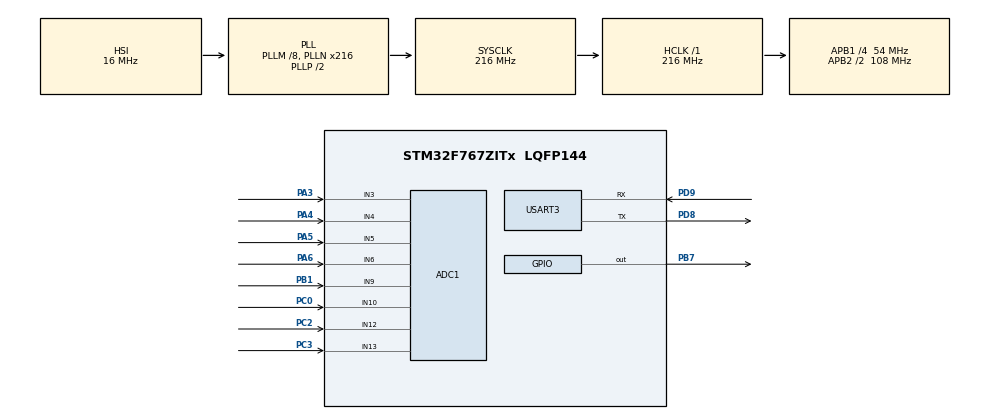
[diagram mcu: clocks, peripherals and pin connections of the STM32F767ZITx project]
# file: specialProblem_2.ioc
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ADC1.Channel-0\#ChannelRegularConversion=ADC_CHANNEL_3
ADC1.Channel-1\#ChannelRegularConversion=ADC_CHANNEL_4
ADC1.Channel-2\#ChannelRegularConversion=ADC_CHANNEL_10
ADC1.Channel-3\#ChannelRegularConversion=ADC_CHANNEL_13
ADC1.Channel-4\#ChannelRegularConversion=ADC_CHANNEL_5
ADC1.Channel-5\#ChannelRegularConversion=ADC_CHANNEL_6
ADC1.Channel-6\#ChannelRegularConversion=ADC_CHANNEL_9
ADC1.Channel-7\#ChannelRegularConversion=ADC_CHANNEL_12
ADC1.ClockPrescaler=ADC_CLOCK_SYNC_PCLK_DIV8
ADC1.ContinuousConvMode=DISABLE
ADC1.DMAContinuousRequests=ENABLE
ADC1.EOCSelection=ADC_EOC_SEQ_CONV
ADC1.NbrOfConversion=8
ADC1.NbrOfConversionFlag=1
ADC1.Rank-0\#ChannelRegularConversion=1
ADC1.Rank-1\#ChannelRegularConversion=2
ADC1.Rank-2\#ChannelRegularConversion=3
ADC1.Rank-3\#ChannelRegularConversion=4
ADC1.Rank-4\#ChannelRegularConversion=5
ADC1.Rank-5\#ChannelRegularConversion=6
ADC1.Rank-6\#ChannelRegularConversion=7
ADC1.Rank-7\#ChannelRegularConversion=8
ADC1.SamplingTime-0\#ChannelRegularConversion=ADC_SAMPLETIME_3CYCLES
ADC1.SamplingTime-1\#ChannelRegularConversion=ADC_SAMPLETIME_3CYCLES
ADC1.SamplingTime-2\#ChannelRegularConversion=ADC_SAMPLETIME_3CYCLES
ADC1.SamplingTime-3\#ChannelRegularConversion=ADC_SAMPLETIME_3CYCLES
ADC1.SamplingTime-4\#ChannelRegularConversion=ADC_SAMPLETIME_3CYCLES
ADC1.SamplingTime-5\#ChannelRegularConversion=ADC_SAMPLETIME_3CYCLES
ADC1.SamplingTime-6\#ChannelRegularConversion=ADC_SAMPLETIME_3CYCLES
ADC1.SamplingTime-7\#ChannelRegularConversion=ADC_SAMPLETIME_3CYCLES
ADC1.ScanConvMode=ADC_SCAN_ENABLE
ADC1.master=1
Dma.ADC1.0.Direction=DMA_PERIPH_TO_MEMORY
Dma.ADC1.0.FIFOMode=DMA_FIFOMODE_DISABLE
Dma.ADC1.0.Instance=DMA2_Stream0
Dma.ADC1.0.MemDataAlignment=DMA_MDATAALIGN_HALFWORD
Dma.ADC1.0.MemInc=DMA_MINC_ENABLE
Dma.ADC1.0.Mode=DMA_CIRCULAR
Dma.ADC1.0.PeriphDataAlignment=DMA_PDATAALIGN_HALFWORD
Dma.ADC1.0.PeriphInc=DMA_PINC_DISABLE
Dma.ADC1.0.Priority=DMA_PRIORITY_LOW
Dma.Request0=ADC1
Mcu.Family=STM32F7
Mcu.Name=STM32F767ZITx
Mcu.Package=LQFP144
NVIC.DMA2_Stream0_IRQn=true\:1\:0\:true\:false\:true\:false\:true\:true
NVIC.PriorityGroup=NVIC_PRIORITYGROUP_2
PA3.Signal=ADCx_IN3
PA4.Signal=ADCx_IN4
PA5.Signal=ADCx_IN5
PA6.Signal=ADCx_IN6
PB1.Signal=ADCx_IN9
PB7.Signal=GPIO_Output
PC0.Signal=ADCx_IN10
PC2.Signal=ADCx_IN12
PC3.Signal=ADCx_IN13
PD8.Mode=Asynchronous
PD8.Signal=USART3_TX
PD9.Mode=Asynchronous
PD9.Signal=USART3_RX
ProjectManager.HeapSize=0x200
ProjectManager.StackSize=0x400
ProjectManager.TargetToolchain=STM32CubeIDE
RCC.AHBFreq_Value=216000000
RCC.APB1CLKDivider=RCC_HCLK_DIV4
RCC.APB1Freq_Value=54000000
RCC.APB1TimFreq_Value=108000000
RCC.APB2CLKDivider=RCC_HCLK_DIV2
RCC.APB2Freq_Value=108000000
RCC.APB2TimFreq_Value=216000000
RCC.CortexFreq_Value=216000000
RCC.HCLKFreq_Value=216000000
RCC.HSE_VALUE=25000000
RCC.HSI_VALUE=16000000
RCC.LSE_VALUE=32768
RCC.PLLM=8
RCC.PLLN=216
RCC.SYSCLKFreq_VALUE=216000000
RCC.SYSCLKSource=RCC_SYSCLKSOURCE_PLLCLK
RCC.USBFreq_Value=216000000
RCC.VCOOutputFreq_Value=432000000
SH.ADCx_IN10.0=ADC1_IN10,IN10
SH.ADCx_IN12.0=ADC1_IN12,IN12
SH.ADCx_IN13.0=ADC1_IN13,IN13
SH.ADCx_IN3.0=ADC1_IN3,IN3
SH.ADCx_IN4.0=ADC1_IN4,IN4
SH.ADCx_IN5.0=ADC1_IN5,IN5
SH.ADCx_IN6.0=ADC1_IN6,IN6
SH.ADCx_IN9.0=ADC1_IN9,IN9
USART3.VirtualMode-Asynchronous=VM_ASYNC
board=custom

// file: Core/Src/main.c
/* USER CODE BEGIN Header */
/**
 ******************************************************************************
 * @file           : main.c
 * @brief          : Main program body
 ******************************************************************************
 * @attention
 *
 * Copyright (c) 2023 STMicroelectronics.
 * All rights reserved.
 *
 * This software is licensed under terms that can be found in the LICENSE file
 * in the root directory of this software component.
 * If no LICENSE file comes with this software, it is provided AS-IS.
 *
 ******************************************************************************
 */
/* USER CODE END Header */
#include "main.h"
#include "adc.h"
#include "dma.h"
#include "usart.h"
#include "gpio.h"

/* USER CODE BEGIN PV */
volatile uint16_t adc_val[8];
int adcChannelCount = sizeof(adc_val) / sizeof(adc_val[0]);
/* USER CODE END PV */

void SystemClock_Config(void);
static void MPU_Initialize(void);
static void MPU_Config(void);

/* USER CODE BEGIN 0 */
void HAL_ADC_ConvCpltCallback(ADC_HandleTypeDef* hadc1){
	HAL_GPIO_WritePin(GPIOB, GPIO_PIN_7, 0);
}
void HAL_ADC_ConvHalfCpltCallback(ADC_HandleTypeDef* hadc1){
	HAL_GPIO_WritePin(GPIOB, GPIO_PIN_7, 1);
	HAL_Delay(100);
}
/* USER CODE END 0 */

int main(void)
{

  /* MCU Configuration--------------------------------------------------------*/

  /* Reset of all peripherals, Initializes the Flash interface and the Systick. */
  HAL_Init();

  /* MPU Configuration--------------------------------------------------------*/
  MPU_Config();

  /* Configure the system clock */
  SystemClock_Config();

  /* Initialize all configured peripherals */
  MX_GPIO_Init();
  MX_DMA_Init();
  MX_USART3_UART_Init();
  MX_ADC1_Init();
  /* USER CODE BEGIN 2 */
	char a[200];
  /* USER CODE END 2 */

  /* Infinite loop */
	while (1) {

    /* USER CODE BEGIN 3 */
		HAL_ADC_Start_DMA(&hadc1, (uint32_t*) adc_val, adcChannelCount);
		while (__HAL_UART_GET_FLAG(&huart3,UART_FLAG_TC) == RESET) {
		}
		sprintf(a,
				"1st Resistor: ch1 = %.2f V | ch2 = %.2f V | ch3 = %.2f V | ch4 = %.2f V\n\r2nd Resistor: ch1 = %.2f V | ch2 = %.2f V | ch3 = %.2f V | ch4 = %.2f V\n\r",
				(float) adc_val[0] * 3.3 / 4095,
				(float) adc_val[1] * 3.3 / 4095,
				(float) adc_val[2] * 3.3 / 4095,
				(float) adc_val[3] * 3.3 / 4095,
				(float) adc_val[4] * 3.3 / 4095,
				(float) adc_val[5] * 3.3 / 4095,
				(float) adc_val[6] * 3.3 / 4095,
				(float) adc_val[7] * 3.3 / 4095);
		HAL_UART_Transmit(&huart3, (uint8_t*) a, strlen(a), 1000);
		HAL_Delay(1000);
	}
  /* USER CODE END 3 */
}

void SystemClock_Config(void)
{
  RCC_OscInitTypeDef RCC_OscInitStruct = {0};
  RCC_ClkInitTypeDef RCC_ClkInitStruct = {0};

  /** Configure the main internal regulator output voltage
  */
  __HAL_RCC_PWR_CLK_ENABLE();
  __HAL_PWR_VOLTAGESCALING_CONFIG(PWR_REGULATOR_VOLTAGE_SCALE1);

  /** Initializes the RCC Oscillators according to the specified parameters
  * in the RCC_OscInitTypeDef structure.
  */
  RCC_OscInitStruct.OscillatorType = RCC_OSCILLATORTYPE_HSI;
  RCC_OscInitStruct.HSIState = RCC_HSI_ON;
  RCC_OscInitStruct.HSICalibrationValue = RCC_HSICALIBRATION_DEFAULT;
  RCC_OscInitStruct.PLL.PLLState = RCC_PLL_ON;
  RCC_OscInitStruct.PLL.PLLSource = RCC_PLLSOURCE_HSI;
  RCC_OscInitStruct.PLL.PLLM = 8;
  RCC_OscInitStruct.PLL.PLLN = 216;
  RCC_OscInitStruct.PLL.PLLP = RCC_PLLP_DIV2;
  RCC_OscInitStruct.PLL.PLLQ = 2;
  RCC_OscInitStruct.PLL.PLLR = 2;
  if (HAL_RCC_OscConfig(&RCC_OscInitStruct) != HAL_OK)
  {
    Error_Handler();
  }

  /** Activate the Over-Drive mode
  */
  if (HAL_PWREx_EnableOverDrive() != HAL_OK)
  {
    Error_Handler();
  }

  /** Initializes the CPU, AHB and APB buses clocks
  */
  RCC_ClkInitStruct.ClockType = RCC_CLOCKTYPE_HCLK|RCC_CLOCKTYPE_SYSCLK
                              |RCC_CLOCKTYPE_PCLK1|RCC_CLOCKTYPE_PCLK2;
  RCC_ClkInitStruct.SYSCLKSource = RCC_SYSCLKSOURCE_PLLCLK;
  RCC_ClkInitStruct.AHBCLKDivider = RCC_SYSCLK_DIV1;
  RCC_ClkInitStruct.APB1CLKDivider = RCC_HCLK_DIV4;
  RCC_ClkInitStruct.APB2CLKDivider = RCC_HCLK_DIV2;

  if (HAL_RCC_ClockConfig(&RCC_ClkInitStruct, FLASH_LATENCY_7) != HAL_OK)
  {
    Error_Handler();
  }
}

/* MPU Configuration */

void MPU_Config(void)
{
  MPU_Region_InitTypeDef MPU_InitStruct = {0};

  /* Disables the MPU */
  HAL_MPU_Disable();

  /** Initializes and configures the Region and the memory to be protected
  */
  MPU_InitStruct.Enable = MPU_REGION_ENABLE;
  MPU_InitStruct.Number = MPU_REGION_NUMBER0;
  MPU_InitStruct.BaseAddress = 0x0;
  MPU_InitStruct.Size = MPU_REGION_SIZE_4GB;
  MPU_InitStruct.SubRegionDisable = 0x87;
  MPU_InitStruct.TypeExtField = MPU_TEX_LEVEL0;
  MPU_InitStruct.AccessPermission = MPU_REGION_NO_ACCESS;
  MPU_InitStruct.DisableExec = MPU_INSTRUCTION_ACCESS_DISABLE;
  MPU_InitStruct.IsShareable = MPU_ACCESS_SHAREABLE;
  MPU_InitStruct.IsCacheable = MPU_ACCESS_NOT_CACHEABLE;
  MPU_InitStruct.IsBufferable = MPU_ACCESS_NOT_BUFFERABLE;

  HAL_MPU_ConfigRegion(&MPU_InitStruct);
  /* Enables the MPU */
  HAL_MPU_Enable(MPU_PRIVILEGED_DEFAULT);

}

void Error_Handler(void)
{
	__disable_irq();
	while (1) {
	}
}
